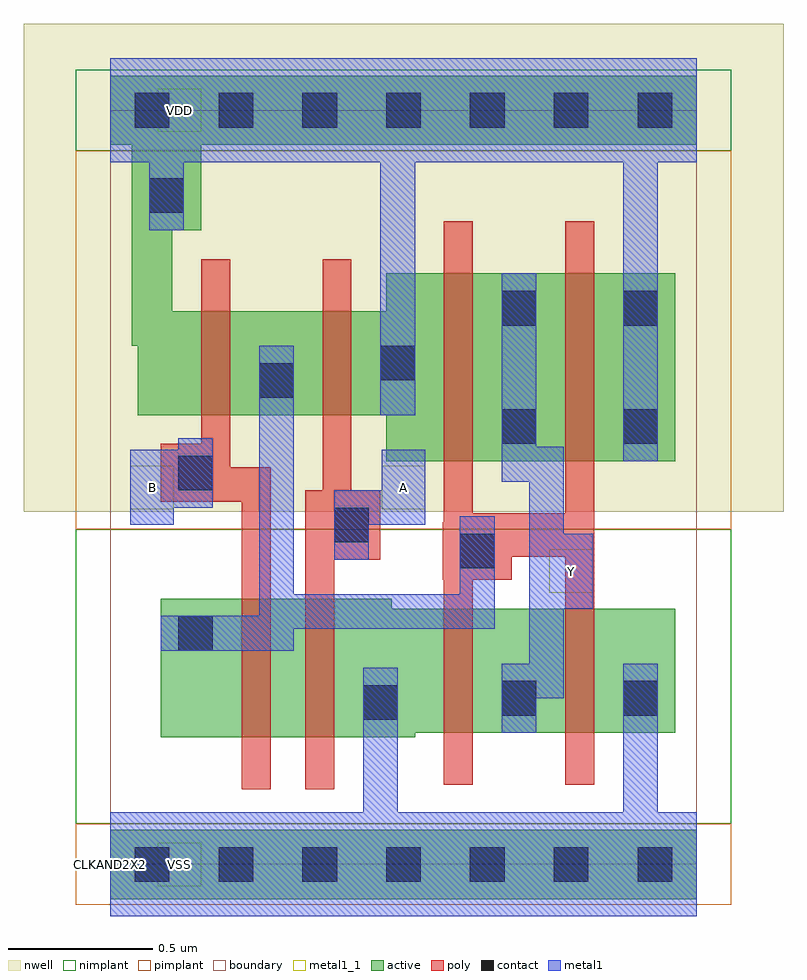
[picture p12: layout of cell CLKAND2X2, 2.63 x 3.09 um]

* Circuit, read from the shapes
.subckt CLKAND2X2 A B VDD VSS Y
M1 n1 B n2 VSS nfet w=0.48u l=0.1u
M2 VSS A n1 VSS nfet w=0.48u l=0.1u
M3 Y n2 VSS VSS nfet w=0.43u l=0.1u m=2
M4 n2 B VDD VDD pfet w=0.36u l=0.1u
M5 VDD A n2 VDD pfet w=0.36u l=0.1u
M6 Y n2 VDD VDD pfet w=0.65u l=0.1u m=2
.ends

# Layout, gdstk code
import gdstk
lib = gdstk.Library(unit=1e-6, precision=5e-10)
def R(c, l, rs):  # rectangles x0, y0, x1, y1
    for r in rs: c.add(gdstk.rectangle(r[:2], r[2:], *l))
def A(c, l, x, y, w, h, nx, ny, dx, dy):  # array of equal rectangles
    R(c, l, [(x+i*dx, y+j*dy, x+i*dx+w, y+j*dy+h) for i in range(nx) for j in range(ny)])
active = (1, 0)
nwell = (2, 0)
poly = (3, 0)
nimplant = (4, 0)
pimplant = (5, 0)
contact = (6, 0)
metal1 = (7, 0)
metal1_1 = (7, 1)
boundary = (62, 0)

clkand2x2 = lib.new_cell('CLKAND2X2')
R(clkand2x2, active, [(0,-0.12,2.03,0.12), (0.175,0.44,1.055,0.455), (0.175,0.455,1.955,0.885), (0.175,0.885,0.975,0.92), (0.955,1.395,1.955,1.555), (0.095,1.555,1.955,1.795), (0.075,1.795,1.955,1.915), (0.075,1.915,0.215,2.195), (0.955,1.915,1.955,2.045), (0.075,2.195,0.315,2.49), (0,2.49,2.03,2.73)])
R(clkand2x2, nwell, [(-0.3,1.22,2.33,2.91)])
R(clkand2x2, poly, [(0.455,0.26,0.555,1.255), (0.675,0.26,0.775,1.055), (1.155,0.275,1.255,0.985), (1.575,0.275,1.675,1.065), (1.15,0.985,1.39,1.065), (0.675,1.055,0.935,1.295), (1.15,1.065,1.675,1.185), (1.155,1.185,1.675,1.215), (1.155,1.215,1.255,2.225), (1.575,1.215,1.675,2.225), (0.175,1.255,0.555,1.375), (0.735,1.295,0.835,2.095), (0.175,1.375,0.415,1.455), (0.315,1.455,0.415,2.095)])
R(clkand2x2, nimplant, [(-0.12,0.14,2.15,1.16), (-0.12,2.47,2.15,2.75)])
R(clkand2x2, pimplant, [(-0.12,-0.14,2.15,0.14), (-0.12,1.16,2.15,2.47)])
A(clkand2x2, contact, 0.085, -0.06, 0.12, 0.12, 7, 2, 0.29, 2.61)
R(clkand2x2, contact, [(0.875,0.5,0.995,0.62), (1.355,0.515,1.475,0.635), (1.775,0.515,1.895,0.635), (0.235,0.74,0.355,0.86), (1.21,1.025,1.33,1.145), (0.775,1.115,0.895,1.235), (0.235,1.295,0.355,1.415), (1.355,1.455,1.475,1.575), (1.775,1.455,1.895,1.575), (0.515,1.615,0.635,1.735), (0.935,1.675,1.055,1.795), (1.355,1.865,1.475,1.985), (1.775,1.865,1.895,1.985), (0.135,2.255,0.255,2.375)])
R(clkand2x2, metal1, [(0,-0.18,2.03,0.18), (0.875,0.18,0.995,0.68), (1.775,0.18,1.895,0.695), (1.355,0.455,1.475,0.575), (1.355,0.575,1.57,0.695), (1.45,0.695,1.57,0.885), (0.175,0.74,0.635,0.815), (0.175,0.815,1.33,0.86), (0.515,0.86,1.33,0.935), (1.45,0.885,1.67,1.145), (0.515,0.935,0.635,1.795), (1.21,0.935,1.33,1.205), (0.775,1.055,0.895,1.175), (1.45,1.145,1.57,1.325), (0.07,1.175,0.22,1.235), (0.775,1.175,1.09,1.295), (0.07,1.235,0.355,1.435), (0.94,1.295,1.09,1.435), (1.355,1.325,1.57,1.445), (1.775,1.395,1.895,2.43), (0.235,1.435,0.355,1.475), (1.355,1.445,1.475,2.045), (0.935,1.555,1.055,2.43), (0.135,2.195,0.255,2.43), (0,2.43,2.03,2.79)])
R(clkand2x2, metal1_1, [(0.165,-0.075,0.315,0.075), (1.52,0.94,1.67,1.09), (0.07,1.23,0.22,1.38), (0.94,1.23,1.09,1.38), (0.165,2.535,0.315,2.685)])
R(clkand2x2, boundary, [(0,0,2.03,2.61)])
clkand2x2.add(gdstk.Label('CLKAND2X2', (0,0), layer=63, texttype=0))
clkand2x2.add(gdstk.Label('VSS', (0.24,0), layer=7, texttype=3))
clkand2x2.add(gdstk.Label('VDD', (0.24,2.61), layer=7, texttype=3))
clkand2x2.add(gdstk.Label('B', (0.145,1.305), layer=7, texttype=3))
clkand2x2.add(gdstk.Label('A', (1.015,1.305), layer=7, texttype=3))
clkand2x2.add(gdstk.Label('Y', (1.595,1.015), layer=7, texttype=3))

lib.write_gds('CLKAND2X2.gds')
